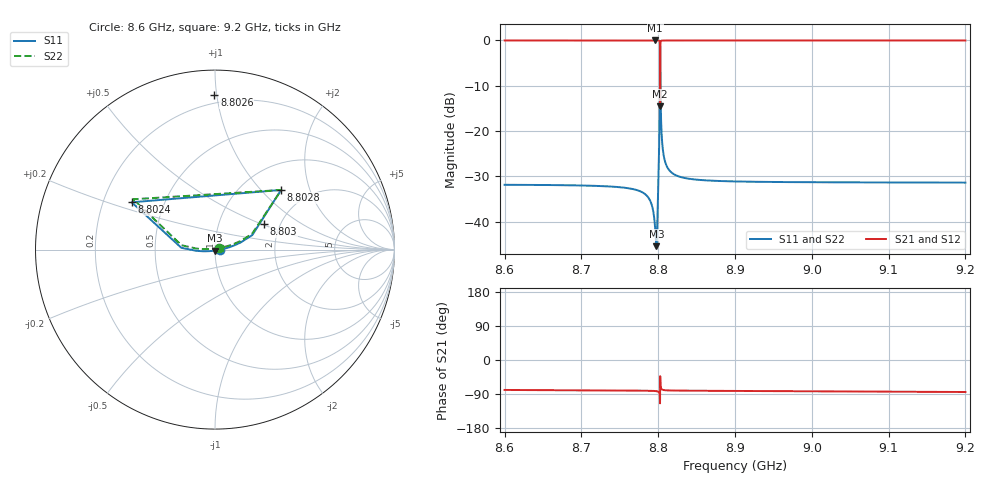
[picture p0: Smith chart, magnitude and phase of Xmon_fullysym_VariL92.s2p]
! Sonnet Data File
! From: emgraph Version : 16.52
! From Project: 171117_Xmon_fullysym
! Data is De-embedded
! Data File Written: 11/26/2017 21:44:46
!< HDATE 11/26/2017 17:24:49
!< MDATE 11/26/2017 17:24:49
!< PARAMS
!< Lj = 11.0
!< Gap = 1.0
!< Pwid = 2000.0
!< Airgap = 6.0
!< Width = 10.0
!< Lj1 = 9.2
!< END PARAMS
# GHZ S MA R 50.90000
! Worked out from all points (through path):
!   3001 points, 8.6 GHz to 9.2 GHz, reference 50.9 ohm
!   highest |S21| = 0.00 dB at 8.7962 GHz (marker M1); lowest = -14.5 dB at 8.8026 GHz (marker M2)
!   lowest |S11| = -45.4 dB at 8.7976 GHz (marker M3), VSWR 1.01, Z = 51 - j0.535 ohm
!   |S11| at or under -10 dB: start of sweep to 8.8022 GHz; 8.803 GHz to end of sweep
!   |S22| runs from -45.1 to -1.3 dB; largest |S21 - S12| = 7.6e-11
!   S11 on the Smith chart (normalised r, x): 8.6 GHz: 1.05, -0.00; 8.8024 GHz: 0.32, +0.24; 8.8026 GHz: 0.15, +0.99; 8.8028 GHz: 1.48, +1.30; 8.803 GHz: 1.65, +0.52; 9.2 GHz: 1.06, -0.01
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8.6  0.02561 -0.3  0.9997 -79.0  0.9997 -79.0  0.02561 22.3
!< P1 F=8.6 Eeff=(6.44845572 -2.9799e-5) Z0=(50.9087207 1.17006e-4) R=0.0 C=0.0
!< P2 F=8.6 Eeff=(6.44845572 -2.9799e-5) Z0=(50.9087207 1.17006e-4) R=0.0 C=0.0
8.7  0.02515 -1.7  0.9997 -80.0  0.9997 -80.0  0.02515 21.8
8.7792  0.02119 -5.3  0.9998 -80.9  0.9998 -80.9  0.02119 23.4
8.7902  0.01659 -9.9  0.9998 -81.3  0.9998 -81.3  0.0166 27.4
8.7962  0.008109 -33.2  0.9999 -81.9  0.9999 -81.9  0.00819 50.0
8.7976  0.005388 -76.8  0.9999 -82.3  0.9999 -82.3  0.005584 92.5
8.7988  0.009286 -137.4  0.9998 -82.7  0.9998 -82.7  0.009483 150.2
8.8002  0.02781 -162.9  0.9992 -83.9  0.9992 -83.9  0.02797 173.4
8.8014  0.08124 -173.8  0.995 -87.0  0.995 -87.0  0.08147 177.4
8.8024  0.5337 150.4  0.7895 -114.4  0.7895 -114.4  0.5346 148.4
8.8026  0.8624 90.2  0.1883 -42.8  0.1883 -42.8  0.8638 89.2
8.8028  0.4961 42.0  0.8285 -52.7  0.8285 -52.7  0.4968 42.0
8.803  0.3072 27.5  0.939 -64.4  0.939 -64.4  0.3076 28.3
8.8048  0.08288 9.5  0.9961 -77.6  0.9961 -77.6  0.08294 15.9
8.8058  0.06537 7.4  0.9976 -78.6  0.9976 -78.6  0.06541 15.8
8.8068  0.05615 6.0  0.9983 -79.2  0.9983 -79.2  0.05617 16.0
8.8094  0.04482 3.8  0.9989 -79.8  0.9989 -79.8  0.04483 16.7
8.8192  0.034 0.7  0.9994 -80.6  0.9994 -80.6  0.03401 18.2
8.9002  0.02788 -2.6  0.9996 -81.7  0.9996 -81.7  0.02788 19.3
9.0002  0.02733 -4.0  0.9996 -82.6  0.9996 -82.6  0.02733 18.8
9.1  0.02717 -5.2  0.9996 -83.6  0.9996 -83.6  0.02717 18.1
9.2  0.02705 -6.4  0.9996 -84.5  0.9996 -84.5  0.02705 17.5
